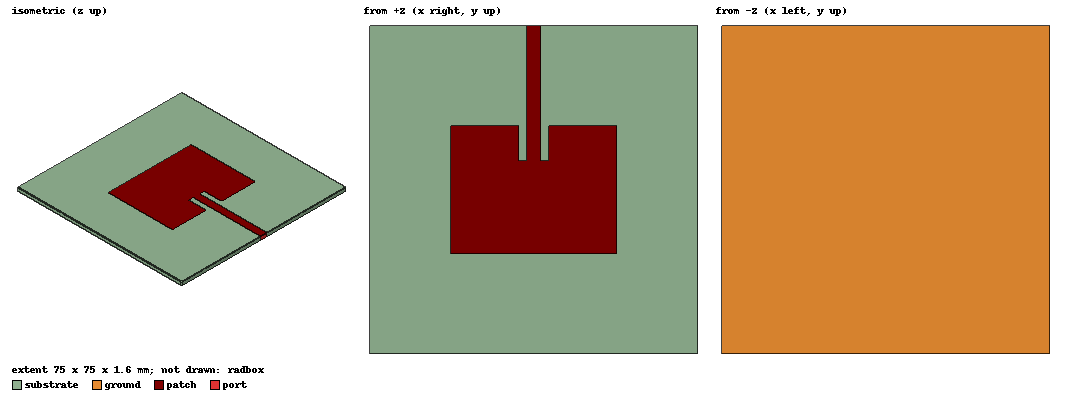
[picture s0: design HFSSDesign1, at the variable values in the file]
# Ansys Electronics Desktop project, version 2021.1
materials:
  vacuum: permittivity=1
  Taconic RF-35 (tm): permittivity=3.5 dielectric_loss_tangent=0.0018
  copper: permeability=0.999991 conductivity=58000000
  air: permittivity=1.0006 permeability=1.0000004
  FR4_epoxy: permittivity=4.4 dielectric_loss_tangent=0.02

design HFSSDesign1 (HFSS, DrivenModal, model units mm)
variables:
  subx = 75mm
  suby = 75mm
  subh = 1.6mm
  gnh = -0.035mm
  w = 38.01mm
  l = 29.42mm
  cut_x = 7mm
  cut_y = 8mm
  wf = 3mm
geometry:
  substrate [FR4_epoxy] = box(corner=(0mm, 0mm, 0mm), size=(subx, suby, subh))
  fed = rectangle(corner=(subx/2-w/2-cut_x/2 +w/2 -wf +cut_x/2+wf/2, suby/2-l/2 +l -cut_y, subh), x_size=wf, y_size=suby-(suby/2-l/2 +l -cut_y))
  patch = rectangle(corner=(subx/2-w/2, suby/2-l/2, subh), x_size=w, y_size=l)
  cut = rectangle(corner=(subx/2-w/2-cut_x/2 +w/2, suby/2-l/2 +l -cut_y, subh), x_size=cut_x, y_size=cut_y)
  patch.subtract(cut)
  patch.unite(fed)
  ground = rectangle(corner=(0mm, 0mm, 0), x_size=subx, y_size=suby)
  port = rectangle(corner=(subx/2-w/2-cut_x/2 +w/2 -wf +cut_x/2+wf/2, suby/2-l/2 +l -cut_y+suby-(suby/2-l/2 +l -cut_y), 0), z_size=subh, x_size=wf)
  radbox [air] = box(corner=(-4mm, -4mm, -10*subh), size=(subx+8mm, suby+8mm, 21*subh))
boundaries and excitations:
  PerfE1: Perfect E Objects=patch
  PerfE2: Perfect E Objects=ground
  Rad1: Radiation Objects=radbox
  1: Lumped Port Objects=port Modes{Mode1{IntLine{middle of port.edge(z at corner) -> middle of port.edge(z opposite corner)} CharImp=Zpi RenormImp=50ohm}} Impedance=50ohm
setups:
  Setup1: HfssDrivenAuto AutoSolverSetting=Balanced SaveAnyFields=false Type=Interpolating
    sweep Sweep: 2GHz to 6GHz, 200 points;
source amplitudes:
  1:1: 1W 0deg
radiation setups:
  Infinite Sphere1: Infinite Sphere Theta=-180deg..180deg step 2deg Phi=0deg..360deg step 2deg
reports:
  S Parameter Plot 1: dB(S(1,1)) vs Freq on Setup1 : Sweep
